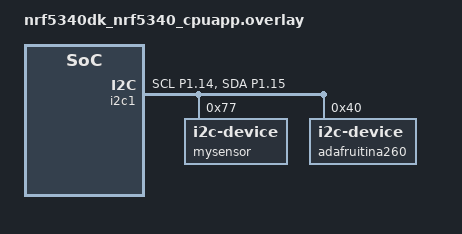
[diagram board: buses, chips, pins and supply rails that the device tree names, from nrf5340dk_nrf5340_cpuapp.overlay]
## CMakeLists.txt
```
cmake_minimum_required(VERSION 3.20.0)
find_package(Zephyr REQUIRED HINTS $ENV{ZEPHYR_BASE})

project(nrf5340dk-i2c-example)

target_sources(app PRIVATE src/main.c)
```

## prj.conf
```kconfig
#
# Copyright (c) 2016 Intel Corporation
#
# SPDX-License-Identifier: Apache-2.0
#

# STEP 2 - Enable the I2C driver
CONFIG_I2C=y
CONFIG_TFM_SECURE_UART=n
CONFIG_TFM_LOG_LEVEL_SILENCE=y
# STEP 4.2 - Enable floating point format specifiers
CONFIG_CBPRINTF_FP_SUPPORT=y
```

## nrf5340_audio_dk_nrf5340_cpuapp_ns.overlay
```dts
// To get started, press Ctrl+Space (or Option+Esc) to bring up the completion menu and view the available nodes.

// You can also use the buttons in the sidebar to perform actions on nodes.
// Actions currently available include:

// * Enabling / disabling the node
// * Adding the bus to a bus
// * Removing the node
// * Connecting ADC channels

// For more help, browse the DeviceTree documentation at https://docs.zephyrproject.org/latest/guides/dts/index.html
// You can also visit the nRF DeviceTree extension documentation at https://docs.nordicsemi.com/bundle/nrf-connect-vscode/page/guides/ncs_configure_app.html#devicetree-support-in-the-extension
&i2c1 {
    status = "okay";
    pinctrl-0 = <&i2c1_default>;
	pinctrl-1 = <&i2c1_sleep>;
    pinctrl-names = "default", "sleep";
    mysensor: mysensor@77{
        compatible = "i2c-device";
        status = "okay";
        reg = < 0x77 >;
    };
};

&pinctrl {
	/omit-if-no-ref/ i2c1_default: i2c1_default {
		group1  {
			psels = <NRF_PSEL(TWIM_SCL, 1, 14)>,
					<NRF_PSEL(TWIM_SDA, 1, 15)>;
		};
	};

	/omit-if-no-ref/ i2c1_sleep: i2c1_sleep {
		group1  {
			psels = <NRF_PSEL(TWIM_SCL, 1, 14)>,
					<NRF_PSEL(TWIM_SDA, 1, 15)>;
			low-power-enable;
		};
	};
};
```

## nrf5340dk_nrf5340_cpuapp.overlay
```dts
// To get started, press Ctrl+Space (or Option+Esc) to bring up the completion menu and view the available nodes.

// You can also use the buttons in the sidebar to perform actions on nodes.
// Actions currently available include:

// * Enabling / disabling the node
// * Adding the bus to a bus
// * Removing the node
// * Connecting ADC channels

// For more help, browse the DeviceTree documentation at https://docs.zephyrproject.org/latest/guides/dts/index.html
// You can also visit the nRF DeviceTree extension documentation at https://docs.nordicsemi.com/bundle/nrf-connect-vscode/page/guides/ncs_configure_app.html#devicetree-support-in-the-extension
&i2c1 {
    status = "okay";
    pinctrl-0 = <&i2c1_default>;
	pinctrl-1 = <&i2c1_sleep>;
    pinctrl-names = "default", "sleep";
    mysensor: mysensor@77{
        compatible = "i2c-device";
        status = "okay";
        reg = < 0x77 >;
    };

    adafruitina260: adafruitina260@40{
        compatible = "i2c-device";
        status = "okay";
        reg = < 0x40 >;
    };
};

&pinctrl {
	/omit-if-no-ref/ i2c1_default: i2c1_default {
		group1  {
			psels = <NRF_PSEL(TWIM_SCL, 1, 14)>,
					<NRF_PSEL(TWIM_SDA, 1, 15)>;
		};
	};

	/omit-if-no-ref/ i2c1_sleep: i2c1_sleep {
		group1  {
			psels = <NRF_PSEL(TWIM_SCL, 1, 14)>,
					<NRF_PSEL(TWIM_SDA, 1, 15)>;
			low-power-enable;
		};
	};
};
```

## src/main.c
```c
/*
 * Copyright (c) 2016 Intel Corporation
 *
 * SPDX-License-Identifier: Apache-2.0
 */

#include <zephyr/kernel.h>
#include <zephyr/device.h>
#include <zephyr/devicetree.h>
/* STEP 3 - Include the header file of the I2C API */
#include <zephyr/drivers/i2c.h>

/* STEP 4.1 - Include the header file of printk() */
#include <zephyr/sys/printk.h>
#include <zephyr/logging/log.h>


LOG_MODULE_REGISTER(logging_blog);

/* 1000 msec = 1 sec */
#define SLEEP_TIME_MS   1000

/* STEP 7 - Define the I2C slave device address and the addresses of relevant registers */
#define I2C_NODE DT_NODELABEL(mysensor)
#define INA260 DT_NODELABEL(adafruitina260)
#define CTRLMEAS 0xF4
#define CALIB00	 0x88
#define ID	     0xD0


#define CHIP_ID 0x60

#define INA260_ID 0xff
#define INA260_MANU 0xfe
#define CONFIGURATION_REGISTER 0x00
#define CURRENT_REGISTER 0x01
#define BUS_VOLTAGE_REGISTER 0x02
#define POWER_REGISTER 0x03

/* STEP 5 - Get the label of the I2C controller connected to your sensor */

int read_register(const struct i2c_dt_spec *ina260, uint8_t register_address, uint8_t* result)
{
	int ret;
	uint8_t bytes[2];
	uint8_t register_array[] = {register_address};

	ret = i2c_write_read_dt(ina260, register_array, 1, &bytes, 2);
	if (ret != 0) {
		printk("Failed to read register %x \n", register_array[0]);
		return -1;
	}
	//printk("Bytes: %x%x \n", bytes[0], bytes[1]);

	memcpy(result, bytes, 2);

	return 0;
}

void read_manufacturer(const struct i2c_dt_spec *ina260)//const struct device * ina260) 
{
	int ret;
	uint16_t manufacturer_id = 0;
	uint8_t manufacturer_bytes[2];
	uint8_t manufacturer_register[] = {INA260_MANU};
	ret = i2c_write_read_dt(ina260, manufacturer_register, 1, &manufacturer_bytes, 2);
	if (ret != 0) {
		printk("Failed to read register %x \n", manufacturer_register[0]);
		return -1;
	}
	printk("Manufacturer: %x%x \n", manufacturer_bytes[0], manufacturer_bytes[1]);
	//printk("Manufacturer: %x \n", manufacturer_bytes[0]);

	//manufacturer_id = ((manufacturer_bytes[1] << 8) | manufacturer_bytes[0]);
}

void read_chip_id(const struct i2c_dt_spec *ina260)//const struct device * ina260) 
{
	int ret;
	uint16_t manufacturer_id = 0;
	uint8_t manufacturer_bytes[2];
	uint8_t manufacturer_register[] = {INA260_MANU};
	ret = i2c_write_read_dt(ina260, manufacturer_register, 1, &manufacturer_bytes, 2);
	if (ret != 0) {
		printk("Failed to read register %x \n", manufacturer_register[0]);
		return -1;
	}
	printk("Manufacturer: %x%x \n", manufacturer_bytes[0], manufacturer_bytes[1]);

}

void main(void)
{

	int ret;

	printk("Application starting...\n\r");

/* STEP 6 - Get the binding of the I2C driver  */
	//static const struct i2c_dt_spec dev_i2c = I2C_DT_SPEC_GET(I2C_NODE);
	static const struct i2c_dt_spec ina260 = I2C_DT_SPEC_GET(INA260);
	if (!device_is_ready(ina260.bus)) {
		printk("INA260 bus %s is not ready!\n\r",ina260.bus->name);
		return -1;
	}

	uint8_t config[3] = {CONFIGURATION_REGISTER, 0x69, 0x27};
	ret = i2c_write_dt(&ina260, config, sizeof(config));
	if(ret != 0){
		printk("Failed to write to I2C device address %x at reg. %x \n\r", ina260.addr, config[0]);
	}

	k_msleep(500);

	uint8_t manufacturer[2] = {0};
	read_register(&ina260, INA260_MANU, manufacturer);
	printk("Manufacturer: %x%x \n", manufacturer[0], manufacturer[1]);
	uint8_t chip_id[2] = {0};
	read_register(&ina260, INA260_ID, chip_id);
	printk("Chip id: %x%x \n", chip_id[0], chip_id[1]);
	uint8_t configs[2] = {0};
	read_register(&ina260, CONFIGURATION_REGISTER, configs);
	printk("Config: %x%x \n", configs[0], configs[1]);

	uint8_t current[2] = {0};
	uint8_t voltage[2] = {0};
	uint8_t power[2] = {0};
	int16_t current_converted;
	int16_t voltage_converted;
	uint16_t power_converted;
	
	read_register(&ina260, CURRENT_REGISTER, current);
	printk("Current: %x%x \n", current[0], current[1]);
	
	read_register(&ina260, BUS_VOLTAGE_REGISTER, voltage);
	printk("Voltage: %x%x \n", voltage[0], voltage[1]);
	
	read_register(&ina260, POWER_REGISTER, power);
	printk("Power: %x%x \n", power[0], power[1]);

	while(1) {
		read_register(&ina260, CURRENT_REGISTER, current);
		printk("Current: %x%x \n", current[0], current[1]);
		current_converted = (int16_t) ((current[0] << 8) + current[1]);
		printk("Current value: %f \n", 1.25 * current_converted);
		/*current_converted = (int16_t) ((current[0] << 8) + current[1]);
		printk("Current value: %f \n", current_converted*1.25);*/
		
		
		read_register(&ina260, BUS_VOLTAGE_REGISTER, voltage);
		printk("Voltage: %x%x \n", voltage[0], voltage[1]);
		voltage_converted = (int16_t) ((voltage[0] << 8) + voltage[1]);
		printk("Voltage value: %f \n", 1.25 * voltage_converted);
		
		read_register(&ina260, POWER_REGISTER, power);
		printk("Power: %x%x \n", power[0], power[1]);
		power_converted = ((power[0] << 8) + power[1]);
		printk("Power value: %d \n", 10 * power_converted);
		
	k_msleep(1000);
	}
/*
	// do it this way:
//uint8_t b; int16_t value;
ret = i2c_read(&ina260, value, 2, CURRENT_REGISTER);
i2c_read_blocking(p->i2cbus_port, ina260_addr, u.b, 2, false);
value=(b[0]<<8)|b[1]; fp=(float)value * LSB;
*/



}
```
